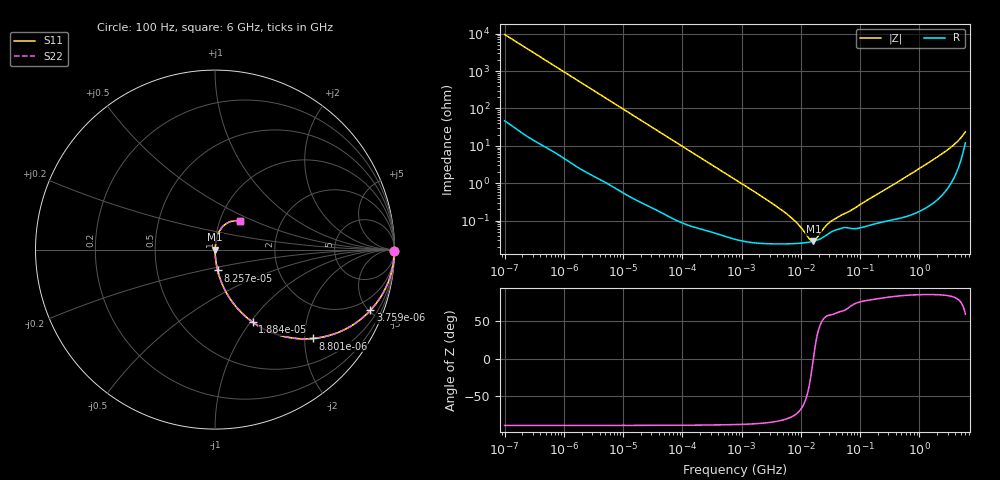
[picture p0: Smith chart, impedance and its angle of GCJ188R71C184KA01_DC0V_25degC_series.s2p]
!Murata Part Number: GCJ188R71C184KA01
!These Parameters are Measured in Series Mode Connection
!  o--ll--o
!Port1  Port2
!  o------o
!Operation Temp=25[degC], DC Bias Voltage=0[V]
!Freq. Start=100[Hz] Stop=6[GHz], 401[Steps]
!Data Generated on Nov 6, 2018
# Hz S RI R 50
!Freq.(Hz) S11(Real) S11(Imag) S21(Real) S21(Imag) S12(Real) S12(Imag) S22(Real) S22(Imag)
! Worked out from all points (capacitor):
!   401 points, 100 Hz to 6 GHz, reference 50 ohm
!   read as one part in series: C = 167 nF near 109.4 Hz
!   lowest |Z| = 28.1 mohm at 16.27 MHz (marker M1)
!   series resonance near 16.26 MHz, so ESL is about 570 pH
!   S11 on the Smith chart (normalised r, x): 100 Hz: open; 3.759 kHz: 1.03, -5.12; 8.801 kHz: 1.01, -2.19; 18.84 kHz: 1.01, -1.03; 82.57 kHz: 1.00, -0.24; 6 GHz: 1.24, +0.41
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100  0.9998 -0.0105  0.000162 0.0105  0.000162 0.0105  0.9998 -0.0105
626.9898  0.9954 -0.0652  0.00459 0.0652  0.00459 0.0652  0.9954 -0.0652
2008.354  0.9572 -0.2  0.0428 0.2  0.0428 0.2  0.9572 -0.2
3759.029  0.8662 -0.3378  0.1338 0.3378  0.1338 0.3378  0.8662 -0.3378
5624.501  0.7446 -0.4333  0.2554 0.4333  0.2554 0.4333  0.7446 -0.4333
8801.117  0.5456 -0.4951  0.4544 0.4951  0.4544 0.4951  0.5456 -0.4951
18841.23  0.2101 -0.4043  0.7899 0.4043  0.7899 0.4043  0.2101 -0.4043
40334.87  0.0562 -0.2267  0.9438 0.2267  0.9438 0.2267  0.0562 -0.2267
82567.04  0.0146 -0.116  0.9854 0.116  0.9854 0.116  0.0146 -0.116
774596.7  0.000478 -0.0127  0.9995 0.0127  0.9995 0.0127  0.000478 -0.0127
5809218  0.000242 -0.00149  0.9998 0.00149  0.9998 0.00149  0.000242 -0.00149
8692127  0.000246 -0.000813  0.9998 0.000813  0.9998 0.000813  0.000246 -0.000813
1.360128e7  0.000265 -0.000219  0.9997 0.000219  0.9997 0.000219  0.000265 -0.000219
1.555665e7  0.000276 -5.39e-05  0.9997 5.39e-05  0.9997 5.39e-05  0.000276 -5.39e-05
1.626902e7  0.000281 7.14e-07  0.9997 -7.14e-07  0.9997 -7.14e-07  0.000281 7.14e-07
1.86079e7  0.000299 0.000165  0.9997 -0.000165  0.9997 -0.000165  0.000299 0.000165
2.662321e7  0.000402 0.000607  0.9996 -0.000607  0.9996 -0.000607  0.000402 0.000607
3.330331e7  0.000509 0.000849  0.9995 -0.000849  0.9995 -0.000849  0.000509 0.000849
3.124326e8  0.00106 0.00784  0.9989 -0.00784  0.9989 -0.00784  0.00106 0.00784
2.450438e9  0.00864 0.0613  0.9914 -0.0613  0.9914 -0.0613  0.00864 0.0613
4.385646e9  0.0366 0.1209  0.9634 -0.1209  0.9634 -0.1209  0.0366 0.1209
6e9  0.1365 0.1584  0.8635 -0.1584  0.8635 -0.1584  0.1365 0.1584
